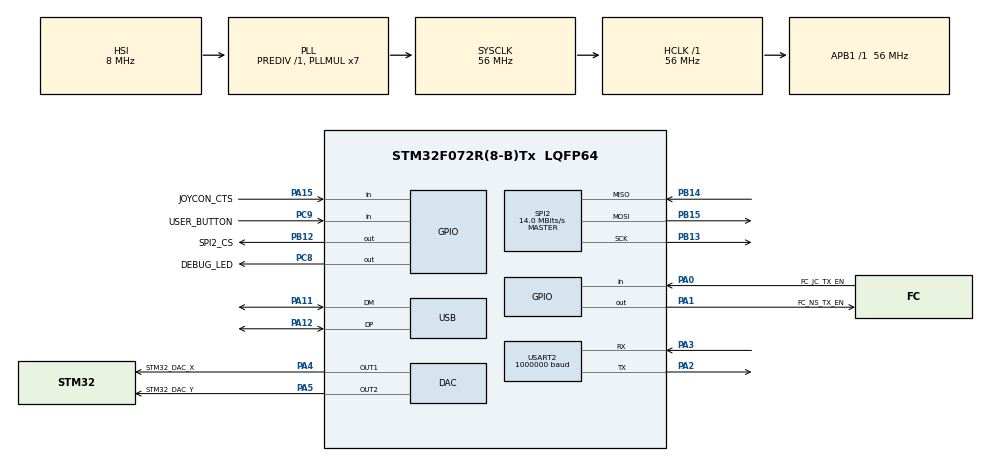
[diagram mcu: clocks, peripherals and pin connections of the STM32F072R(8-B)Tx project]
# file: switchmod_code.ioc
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IWDG.Prescaler=IWDG_PRESCALER_16
Mcu.Family=STM32F0
Mcu.Name=STM32F072R(8-B)Tx
Mcu.Package=LQFP64
NVIC.USART2_IRQn=true\:0\:0\:false\:false\:true
NVIC.USB_IRQn=true\:0\:0\:false\:false\:true
PA0.GPIO_Label=FC_JC_TX_EN
PA0.Signal=GPIO_Input
PA1.GPIO_Label=FC_NS_TX_EN
PA1.PinState=GPIO_PIN_SET
PA1.Signal=GPIO_Output
PA11.Mode=Device
PA11.Signal=USB_DM
PA12.Mode=Device
PA12.Signal=USB_DP
PA13.Mode=Serial_Wire
PA13.Signal=SYS_SWDIO
PA14.Mode=Serial_Wire
PA14.Signal=SYS_SWCLK
PA15.GPIO_Label=JOYCON_CTS
PA15.Signal=GPIO_Input
PA2.Mode=Asynchronous
PA2.Signal=USART2_TX
PA3.Mode=Asynchronous
PA3.Signal=USART2_RX
PA4.GPIO_Label=STM32_DAC_X
PA4.Signal=COMP_DAC1_group
PA5.GPIO_Label=STM32_DAC_Y
PA5.Signal=COMP_DAC2_group
PB12.GPIO_Label=SPI2_CS
PB12.GPIO_ModeDefaultOutputPP=GPIO_MODE_OUTPUT_OD
PB12.PinState=GPIO_PIN_SET
PB12.Signal=GPIO_Output
PB13.Mode=Full_Duplex_Master
PB13.Signal=SPI2_SCK
PB14.Mode=Full_Duplex_Master
PB14.Signal=SPI2_MISO
PB15.Mode=Full_Duplex_Master
PB15.Signal=SPI2_MOSI
PB5.Mode=SYS_WakeUp5
PB5.Signal=SYS_WKUP6
PC8.GPIO_Label=DEBUG_LED
PC8.PinState=GPIO_PIN_SET
PC8.Signal=GPIO_Output
PC9.GPIO_Label=USER_BUTTON
PC9.GPIO_PuPd=GPIO_PULLUP
PC9.Signal=GPIO_Input
PF0-OSC_IN.Mode=HSE-External-Oscillator
PF0-OSC_IN.Signal=RCC_OSC_IN
PF1-OSC_OUT.Mode=HSE-External-Oscillator
PF1-OSC_OUT.Signal=RCC_OSC_OUT
ProjectManager.HeapSize=0x200
ProjectManager.StackSize=0x400
ProjectManager.TargetToolchain=MDK-ARM V5
RCC.AHBFreq_Value=56000000
RCC.APB1Freq_Value=56000000
RCC.APB1TimFreq_Value=56000000
RCC.DATA_CACHE_ENABLE=1
RCC.HCLKFreq_Value=56000000
RCC.INSTRUCTION_CACHE_ENABLE=1
RCC.PLLMUL=RCC_PLL_MUL7
RCC.SYSCLKFreq_VALUE=56000000
RCC.SYSCLKSource=RCC_SYSCLKSOURCE_PLLCLK
RCC.USBFreq_Value=48000000
SH.COMP_DAC1_group.0=DAC_OUT1,DAC_OUT1
SH.COMP_DAC2_group.0=DAC_OUT2,DAC_OUT2
SPI2.BaudRatePrescaler=SPI_BAUDRATEPRESCALER_4
SPI2.CLKPhase=SPI_PHASE_1EDGE
SPI2.CLKPolarity=SPI_POLARITY_LOW
SPI2.CalculateBaudRate=14.0 MBits/s
SPI2.DataSize=SPI_DATASIZE_8BIT
SPI2.Mode=SPI_MODE_MASTER
SPI2.NSSPMode=SPI_NSS_PULSE_DISABLE
TIM2.Period=4294967295
TIM2.Prescaler=55
USART2.BaudRate=1000000
USART2.RxPinLevelInvertParam=UART_ADVFEATURE_RXINV_ENABLE
USART2.TxPinLevelInvertParam=UART_ADVFEATURE_TXINV_DISABLE
USART2.WordLength=UART_WORDLENGTH_8B
USB_DEVICE.CLASS_NAME_FS=CDC
USB_DEVICE.USBD_HandleTypeDef=hUsbDeviceFS
USB_DEVICE.VirtualMode=Cdc
USB_DEVICE.VirtualModeFS=Cdc_FS
VP_IWDG_VS_IWDG.Mode=IWDG_Activate
VP_TIM2_VS_ClockSourceINT.Mode=Internal
VP_USB_DEVICE_VS_USB_DEVICE_CDC_FS.Mode=CDC_FS
board=switchmod_code

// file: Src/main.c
/**
  ******************************************************************************
  * File Name          : main.c
  * Description        : Main program body
  ******************************************************************************
  *
  * Copyright (c) 2017 STMicroelectronics International N.V.
  * All rights reserved.
  *
  * Redistribution and use in source and binary forms, with or without
  * modification, are permitted, provided that the following conditions are met:
  *
  * 1. Redistribution of source code must retain the above copyright notice,
  *    this list of conditions and the following disclaimer.
  * 2. Redistributions in binary form must reproduce the above copyright notice,
  *    this list of conditions and the following disclaimer in the documentation
  *    and/or other materials provided with the distribution.
  * 3. Neither the name of STMicroelectronics nor the names of other
  *    contributors to this software may be used to endorse or promote products
  *    derived from this software without specific written permission.
  * 4. This software, including modifications and/or derivative works of this
  *    software, must execute solely and exclusively on microcontroller or
  *    microprocessor devices manufactured by or for STMicroelectronics.
  * 5. Redistribution and use of this software other than as permitted under
  *    this license is void and will automatically terminate your rights under
  *    this license.
  *
  * THIS SOFTWARE IS PROVIDED BY STMICROELECTRONICS AND CONTRIBUTORS "AS IS"
  * AND ANY EXPRESS, IMPLIED OR STATUTORY WARRANTIES, INCLUDING, BUT NOT
  * LIMITED TO, THE IMPLIED WARRANTIES OF MERCHANTABILITY, FITNESS FOR A
  * PARTICULAR PURPOSE AND NON-INFRINGEMENT OF THIRD PARTY INTELLECTUAL PROPERTY
  * RIGHTS ARE DISCLAIMED TO THE FULLEST EXTENT PERMITTED BY LAW. IN NO EVENT
  * SHALL STMICROELECTRONICS OR CONTRIBUTORS BE LIABLE FOR ANY DIRECT, INDIRECT,
  * INCIDENTAL, SPECIAL, EXEMPLARY, OR CONSEQUENTIAL DAMAGES (INCLUDING, BUT NOT
  * LIMITED TO, PROCUREMENT OF SUBSTITUTE GOODS OR SERVICES; LOSS OF USE, DATA,
  * OR PROFITS; OR BUSINESS INTERRUPTION) HOWEVER CAUSED AND ON ANY THEORY OF
  * LIABILITY, WHETHER IN CONTRACT, STRICT LIABILITY, OR TORT (INCLUDING
  * NEGLIGENCE OR OTHERWISE) ARISING IN ANY WAY OUT OF THE USE OF THIS SOFTWARE,
  * EVEN IF ADVISED OF THE POSSIBILITY OF SUCH DAMAGE.
  *
  ******************************************************************************
  */
#include "main.h"
#include "stm32f0xx_hal.h"
#include "usb_device.h"

/* USER CODE BEGIN Includes */
#include <stdio.h>
#include <string.h>
#include <stdlib.h>
#include "helpers.h"
#include "shared.h"
#include "max572x.h"
#include "my_usb.h"
#include "cmd_parser.h"
#include "delay_us.h"
#include "joycon_cmd.h"
/* USER CODE END Includes */

DAC_HandleTypeDef hdac;

IWDG_HandleTypeDef hiwdg;

SPI_HandleTypeDef hspi2;

TIM_HandleTypeDef htim2;

UART_HandleTypeDef huart2;

/* USER CODE BEGIN PV */
/* Private variables ---------------------------------------------------------*/
int32_t next_iwdg_kick;
volatile uint8_t uart_status;
/* USER CODE END PV */

void SystemClock_Config(void);
void Error_Handler(void);
static void MX_GPIO_Init(void);
static void MX_SPI2_Init(void);
static void MX_USART2_UART_Init(void);
static void MX_TIM2_Init(void);

/* USER CODE BEGIN PFP */
/* Private function prototypes -----------------------------------------------*/
static void MX_DAC_Init(void);
static void MX_IWDG_Init(void);
/* USER CODE END PFP */

/* USER CODE BEGIN 0 */

void stm32_dac_init(void)
{
  MX_DAC_Init();
  HAL_DAC_Start(stm32_dac_ptr, DAC_CHANNEL_1);
  HAL_DAC_Start(stm32_dac_ptr, DAC_CHANNEL_2);
}

int fputc(int ch, FILE *f)
{
  my_usb_putchar((uint8_t)ch);
  return ch;
}

void blink(void)
{
  for (int i = 0; i < 8; ++i)
  {
    HAL_GPIO_TogglePin(DEBUG_LED_GPIO_Port, DEBUG_LED_Pin);
    HAL_Delay(100);
  }
}

/* USER CODE END 0 */

int main(void)
{

  /* USER CODE BEGIN 1 */
  my_usb_init();
  /* USER CODE END 1 */

  /* MCU Configuration----------------------------------------------------------*/

  /* Reset of all peripherals, Initializes the Flash interface and the Systick. */
  HAL_Init();

  /* Configure the system clock */
  SystemClock_Config();

  /* Initialize all configured peripherals */
  MX_GPIO_Init();
  MX_SPI2_Init();
  MX_USB_DEVICE_Init();
  MX_USART2_UART_Init();
  MX_TIM2_Init();

  /* USER CODE BEGIN 2 */
  NSTX_ENABLE();
  blink();
  delay_us_init(&htim2);
  /* USER CODE END 2 */

  /* Infinite loop */
  while (1)
  {

  /* USER CODE BEGIN 3 */
    if(HAL_GPIO_ReadPin(USER_BUTTON_GPIO_Port, USER_BUTTON_Pin) == GPIO_PIN_RESET)
    {
      HAL_GPIO_WritePin(DEBUG_LED_GPIO_Port, DEBUG_LED_Pin, GPIO_PIN_RESET);
      printf("%d\n", HAL_GetTick());
      attach();
      HAL_GPIO_WritePin(DEBUG_LED_GPIO_Port, DEBUG_LED_Pin, GPIO_PIN_SET);
    }
  }
  /* USER CODE END 3 */

}

/** System Clock Configuration
*/
void SystemClock_Config(void)
{

  RCC_OscInitTypeDef RCC_OscInitStruct;
  RCC_ClkInitTypeDef RCC_ClkInitStruct;
  RCC_PeriphCLKInitTypeDef PeriphClkInit;

    /**Initializes the CPU, AHB and APB busses clocks
    */
  RCC_OscInitStruct.OscillatorType = RCC_OSCILLATORTYPE_HSI|RCC_OSCILLATORTYPE_HSI48
                              |RCC_OSCILLATORTYPE_LSI;
  RCC_OscInitStruct.HSIState = RCC_HSI_ON;
  RCC_OscInitStruct.HSI48State = RCC_HSI48_ON;
  RCC_OscInitStruct.HSICalibrationValue = 16;
  RCC_OscInitStruct.LSIState = RCC_LSI_ON;
  RCC_OscInitStruct.PLL.PLLState = RCC_PLL_ON;
  RCC_OscInitStruct.PLL.PLLSource = RCC_PLLSOURCE_HSI;
  RCC_OscInitStruct.PLL.PLLMUL = RCC_PLL_MUL7;
  RCC_OscInitStruct.PLL.PREDIV = RCC_PREDIV_DIV1;
  if (HAL_RCC_OscConfig(&RCC_OscInitStruct) != HAL_OK)
  {
    Error_Handler();
  }

    /**Initializes the CPU, AHB and APB busses clocks
    */
  RCC_ClkInitStruct.ClockType = RCC_CLOCKTYPE_HCLK|RCC_CLOCKTYPE_SYSCLK
                              |RCC_CLOCKTYPE_PCLK1;
  RCC_ClkInitStruct.SYSCLKSource = RCC_SYSCLKSOURCE_PLLCLK;
  RCC_ClkInitStruct.AHBCLKDivider = RCC_SYSCLK_DIV1;
  RCC_ClkInitStruct.APB1CLKDivider = RCC_HCLK_DIV1;

  if (HAL_RCC_ClockConfig(&RCC_ClkInitStruct, FLASH_LATENCY_1) != HAL_OK)
  {
    Error_Handler();
  }

  PeriphClkInit.PeriphClockSelection = RCC_PERIPHCLK_USB|RCC_PERIPHCLK_USART2;
  PeriphClkInit.Usart2ClockSelection = RCC_USART2CLKSOURCE_PCLK1;
  PeriphClkInit.UsbClockSelection = RCC_USBCLKSOURCE_HSI48;

  if (HAL_RCCEx_PeriphCLKConfig(&PeriphClkInit) != HAL_OK)
  {
    Error_Handler();
  }

    /**Configure the Systick interrupt time
    */
  HAL_SYSTICK_Config(HAL_RCC_GetHCLKFreq()/1000);

    /**Configure the Systick
    */
  HAL_SYSTICK_CLKSourceConfig(SYSTICK_CLKSOURCE_HCLK);

  /* SysTick_IRQn interrupt configuration */
  HAL_NVIC_SetPriority(SysTick_IRQn, 0, 0);
}

/* DAC init function */
static void MX_DAC_Init(void)
{

  DAC_ChannelConfTypeDef sConfig;

    /**DAC Initialization
    */
  hdac.Instance = DAC;
  if (HAL_DAC_Init(&hdac) != HAL_OK)
  {
    Error_Handler();
  }

    /**DAC channel OUT1 config
    */
  sConfig.DAC_Trigger = DAC_TRIGGER_NONE;
  sConfig.DAC_OutputBuffer = DAC_OUTPUTBUFFER_ENABLE;
  if (HAL_DAC_ConfigChannel(&hdac, &sConfig, DAC_CHANNEL_1) != HAL_OK)
  {
    Error_Handler();
  }

    /**DAC channel OUT2 config
    */
  if (HAL_DAC_ConfigChannel(&hdac, &sConfig, DAC_CHANNEL_2) != HAL_OK)
  {
    Error_Handler();
  }

}

/* IWDG init function */
static void MX_IWDG_Init(void)
{

  hiwdg.Instance = IWDG;
  hiwdg.Init.Prescaler = IWDG_PRESCALER_16;
  hiwdg.Init.Window = 4095;
  hiwdg.Init.Reload = 4095;
  if (HAL_IWDG_Init(&hiwdg) != HAL_OK)
  {
    Error_Handler();
  }

}

/* SPI2 init function */
static void MX_SPI2_Init(void)
{

  hspi2.Instance = SPI2;
  hspi2.Init.Mode = SPI_MODE_MASTER;
  hspi2.Init.Direction = SPI_DIRECTION_2LINES;
  hspi2.Init.DataSize = SPI_DATASIZE_8BIT;
  hspi2.Init.CLKPolarity = SPI_POLARITY_LOW;
  hspi2.Init.CLKPhase = SPI_PHASE_1EDGE;
  hspi2.Init.NSS = SPI_NSS_SOFT;
  hspi2.Init.BaudRatePrescaler = SPI_BAUDRATEPRESCALER_4;
  hspi2.Init.FirstBit = SPI_FIRSTBIT_MSB;
  hspi2.Init.TIMode = SPI_TIMODE_DISABLE;
  hspi2.Init.CRCCalculation = SPI_CRCCALCULATION_DISABLE;
  hspi2.Init.CRCPolynomial = 7;
  hspi2.Init.CRCLength = SPI_CRC_LENGTH_DATASIZE;
  hspi2.Init.NSSPMode = SPI_NSS_PULSE_DISABLE;
  if (HAL_SPI_Init(&hspi2) != HAL_OK)
  {
    Error_Handler();
  }

}

/* TIM2 init function */
static void MX_TIM2_Init(void)
{

  TIM_ClockConfigTypeDef sClockSourceConfig;
  TIM_MasterConfigTypeDef sMasterConfig;

  htim2.Instance = TIM2;
  htim2.Init.Prescaler = 55;
  htim2.Init.CounterMode = TIM_COUNTERMODE_UP;
  htim2.Init.Period = 4294967295;
  htim2.Init.ClockDivision = TIM_CLOCKDIVISION_DIV1;
  htim2.Init.AutoReloadPreload = TIM_AUTORELOAD_PRELOAD_DISABLE;
  if (HAL_TIM_Base_Init(&htim2) != HAL_OK)
  {
    Error_Handler();
  }

  sClockSourceConfig.ClockSource = TIM_CLOCKSOURCE_INTERNAL;
  if (HAL_TIM_ConfigClockSource(&htim2, &sClockSourceConfig) != HAL_OK)
  {
    Error_Handler();
  }

  sMasterConfig.MasterOutputTrigger = TIM_TRGO_RESET;
  sMasterConfig.MasterSlaveMode = TIM_MASTERSLAVEMODE_DISABLE;
  if (HAL_TIMEx_MasterConfigSynchronization(&htim2, &sMasterConfig) != HAL_OK)
  {
    Error_Handler();
  }

}

/* USART2 init function */
static void MX_USART2_UART_Init(void)
{

  huart2.Instance = USART2;
  huart2.Init.BaudRate = 1000000;
  huart2.Init.WordLength = UART_WORDLENGTH_8B;
  huart2.Init.StopBits = UART_STOPBITS_1;
  huart2.Init.Parity = UART_PARITY_NONE;
  huart2.Init.Mode = UART_MODE_TX_RX;
  huart2.Init.HwFlowCtl = UART_HWCONTROL_NONE;
  huart2.Init.OverSampling = UART_OVERSAMPLING_16;
  huart2.Init.OneBitSampling = UART_ONE_BIT_SAMPLE_DISABLE;
  huart2.AdvancedInit.AdvFeatureInit = UART_ADVFEATURE_RXINVERT_INIT;
  huart2.AdvancedInit.RxPinLevelInvert = UART_ADVFEATURE_RXINV_ENABLE;
  if (HAL_UART_Init(&huart2) != HAL_OK)
  {
    Error_Handler();
  }

}

/** Configure pins as
        * Analog
        * Input
        * Output
        * EVENT_OUT
        * EXTI
*/
static void MX_GPIO_Init(void)
{

  GPIO_InitTypeDef GPIO_InitStruct;

  /* GPIO Ports Clock Enable */
  __HAL_RCC_GPIOF_CLK_ENABLE();
  __HAL_RCC_GPIOA_CLK_ENABLE();
  __HAL_RCC_GPIOB_CLK_ENABLE();
  __HAL_RCC_GPIOC_CLK_ENABLE();

  /*Configure GPIO pin Output Level */
  HAL_GPIO_WritePin(FC_NS_TX_EN_GPIO_Port, FC_NS_TX_EN_Pin, GPIO_PIN_SET);

  /*Configure GPIO pin Output Level */
  HAL_GPIO_WritePin(SPI2_CS_GPIO_Port, SPI2_CS_Pin, GPIO_PIN_SET);

  /*Configure GPIO pin Output Level */
  HAL_GPIO_WritePin(DEBUG_LED_GPIO_Port, DEBUG_LED_Pin, GPIO_PIN_SET);

  /*Configure GPIO pins : FC_JC_TX_EN_Pin JOYCON_CTS_Pin */
  GPIO_InitStruct.Pin = FC_JC_TX_EN_Pin|JOYCON_CTS_Pin;
  GPIO_InitStruct.Mode = GPIO_MODE_INPUT;
  GPIO_InitStruct.Pull = GPIO_NOPULL;
  HAL_GPIO_Init(GPIOA, &GPIO_InitStruct);

  /*Configure GPIO pin : FC_NS_TX_EN_Pin */
  GPIO_InitStruct.Pin = FC_NS_TX_EN_Pin;
  GPIO_InitStruct.Mode = GPIO_MODE_OUTPUT_PP;
  GPIO_InitStruct.Pull = GPIO_NOPULL;
  GPIO_InitStruct.Speed = GPIO_SPEED_FREQ_LOW;
  HAL_GPIO_Init(FC_NS_TX_EN_GPIO_Port, &GPIO_InitStruct);

  /*Configure GPIO pin : SPI2_CS_Pin */
  GPIO_InitStruct.Pin = SPI2_CS_Pin;
  GPIO_InitStruct.Mode = GPIO_MODE_OUTPUT_OD;
  GPIO_InitStruct.Pull = GPIO_NOPULL;
  GPIO_InitStruct.Speed = GPIO_SPEED_FREQ_LOW;
  HAL_GPIO_Init(SPI2_CS_GPIO_Port, &GPIO_InitStruct);

  /*Configure GPIO pin : DEBUG_LED_Pin */
  GPIO_InitStruct.Pin = DEBUG_LED_Pin;
  GPIO_InitStruct.Mode = GPIO_MODE_OUTPUT_PP;
  GPIO_InitStruct.Pull = GPIO_NOPULL;
  GPIO_InitStruct.Speed = GPIO_SPEED_FREQ_LOW;
  HAL_GPIO_Init(DEBUG_LED_GPIO_Port, &GPIO_InitStruct);

  /*Configure GPIO pin : USER_BUTTON_Pin */
  GPIO_InitStruct.Pin = USER_BUTTON_Pin;
  GPIO_InitStruct.Mode = GPIO_MODE_INPUT;
  GPIO_InitStruct.Pull = GPIO_PULLUP;
  HAL_GPIO_Init(USER_BUTTON_GPIO_Port, &GPIO_InitStruct);

}

/* USER CODE BEGIN 4 */
void HAL_UART_RxCpltCallback(UART_HandleTypeDef *huart)
{
  NSTX_DISABLE();
  HAL_UART_AbortReceive(huart);
  uart_status = UART_RECEIVED;
}

void HAL_UART_ErrorCallback(UART_HandleTypeDef *huart)
{
  ;
}
/* USER CODE END 4 */

void Error_Handler(void)
{
  while(1)
  {
  }
}

/************************ (C) COPYRIGHT STMicroelectronics *****END OF FILE****/
